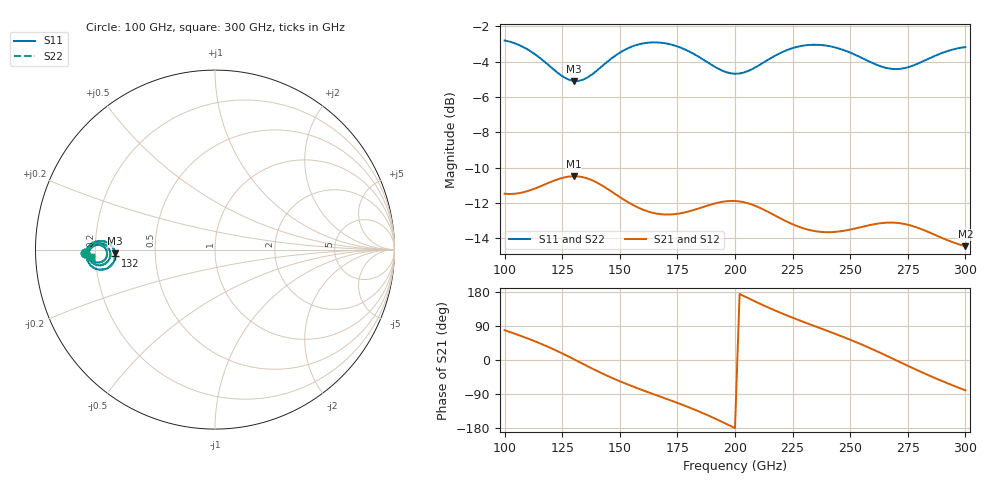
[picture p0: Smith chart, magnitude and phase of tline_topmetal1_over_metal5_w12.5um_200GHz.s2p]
#  GHZ S DB R 50
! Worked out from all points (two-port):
!   101 points, 100 GHz to 300 GHz, reference 50 ohm
!   highest |S21| = -10.48 dB at 130 GHz (marker M1); lowest = -14.4 dB at 300 GHz (marker M2)
!   |S21| within 3 dB of the highest: start of sweep to 231 GHz; 250.7 GHz to 281 GHz (30.23 GHz wide, 11.4 % of centre)
!   lowest |S11| = -5.1 dB at 130 GHz (marker M3), VSWR 3.51, Z = 14.3 - j0.814 ohm
!   |S11| at or under -10 dB: nowhere
!   |S22| runs from -5.1 to -2.8 dB; largest |S21 - S12| = 5.2e-14
!   S11 on the Smith chart (normalised r, x): 100 GHz: 0.16, -0.01; 132 GHz: 0.29, -0.03; 300 GHz: 0.18, -0.03
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100  -2.80 -178.3  -11.47 78.6  -11.47 78.6  -2.79 -178.3
116  -3.86 175.7  -11.03 42.3  -11.03 42.3  -3.84 175.7
122  -4.52 176.5  -10.70 26.1  -10.70 26.1  -4.49 176.5
130  -5.09 -178.0  -10.48 2.2  -10.48 2.2  -5.06 -178.0
132  -5.09 -176.1  -10.49 -4.0  -10.49 -4.0  -5.06 -176.2
134  -5.02 -174.4  -10.53 -10.2  -10.53 -10.2  -4.99 -174.5
142  -4.29 -170.1  -10.98 -34.3  -10.98 -34.3  -4.27 -170.2
148  -3.66 -170.2  -11.49 -50.9  -11.49 -50.9  -3.65 -170.3
158  -3.02 -173.7  -12.26 -75.3  -12.26 -75.3  -3.02 -173.8
168  -2.93 -178.3  -12.63 -97.6  -12.63 -97.6  -2.92 -178.4
184  -3.70 176.8  -12.31 -134.9  -12.31 -134.9  -3.70 176.7
192  -4.34 177.9  -12.00 -156.4  -12.00 -156.4  -4.34 177.8
200  -4.68 -177.8  -11.88 -179.8  -11.88 -179.8  -4.68 -177.9
208  -4.38 -173.4  -12.12 156.6  -12.12 156.6  -4.38 -173.5
216  -3.76 -172.2  -12.61 134.3  -12.61 134.3  -3.76 -172.3
224  -3.27 -173.8  -13.14 114.1  -13.14 114.1  -3.27 -173.9
234  -3.04 -177.2  -13.57 90.8  -13.57 90.8  -3.04 -177.3
252  -3.60 177.8  -13.44 48.4  -13.44 48.4  -3.60 177.7
268  -4.41 -178.7  -13.10 4.9  -13.10 4.9  -4.41 -178.8
276  -4.27 -175.2  -13.26 -18.1  -13.26 -18.1  -4.28 -175.3
284  -3.83 -173.6  -13.64 -40.2  -13.64 -40.2  -3.84 -173.8
300  -3.17 -176.4  -14.44 -80.0  -14.44 -80.0  -3.18 -176.5
